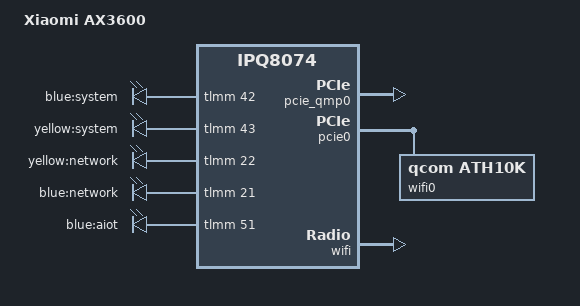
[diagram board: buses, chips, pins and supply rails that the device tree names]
// SPDX-License-Identifier: GPL-2.0-or-later OR MIT
/* Copyright (c) 2021, Robert Marko <robimarko@gmail.com> */

/dts-v1/;

#include "ipq8071-ax3600.dtsi"

/ {
	model = "Xiaomi AX3600";
	compatible = "xiaomi,ax3600", "qcom,ipq8074";

	leds {
		compatible = "gpio-leds";

		led_system_blue: system-blue {
			label = "blue:system";
			gpios = <&tlmm 42 GPIO_ACTIVE_HIGH>;
		};

		led_system_yellow: system-yellow {
			label = "yellow:system";
			gpios = <&tlmm 43 GPIO_ACTIVE_HIGH>;
		};

		network-yellow {
			label = "yellow:network";
			gpios = <&tlmm 22 GPIO_ACTIVE_HIGH>;
		};

		network-blue {
			label = "blue:network";
			gpios = <&tlmm 21 GPIO_ACTIVE_HIGH>;
		};

		aiot {
			label = "blue:aiot";
			gpios = <&tlmm 51 GPIO_ACTIVE_HIGH>;
			linux,default-trigger = "phy0tpt";
		};
	};
};

&pcie_qmp0 {
	status = "okay";
};

&pcie0 {
	status = "okay";

	perst-gpio = <&tlmm 52 GPIO_ACTIVE_HIGH>;

	bridge@0,0 {
		reg = <0x00000000 0 0 0 0>;
		#address-cells = <3>;
		#size-cells = <2>;
		ranges;

		wifi0: wifi@1,0 {
			status = "okay";

			compatible = "qcom,ath10k";
			reg = <0x00010000 0 0 0 0>;

			qcom,ath10k-calibration-variant = "Xiaomi-AX3600";
		};
	};
};

&wifi {
	qcom,ath11k-calibration-variant = "Xiaomi-AX3600";
};
